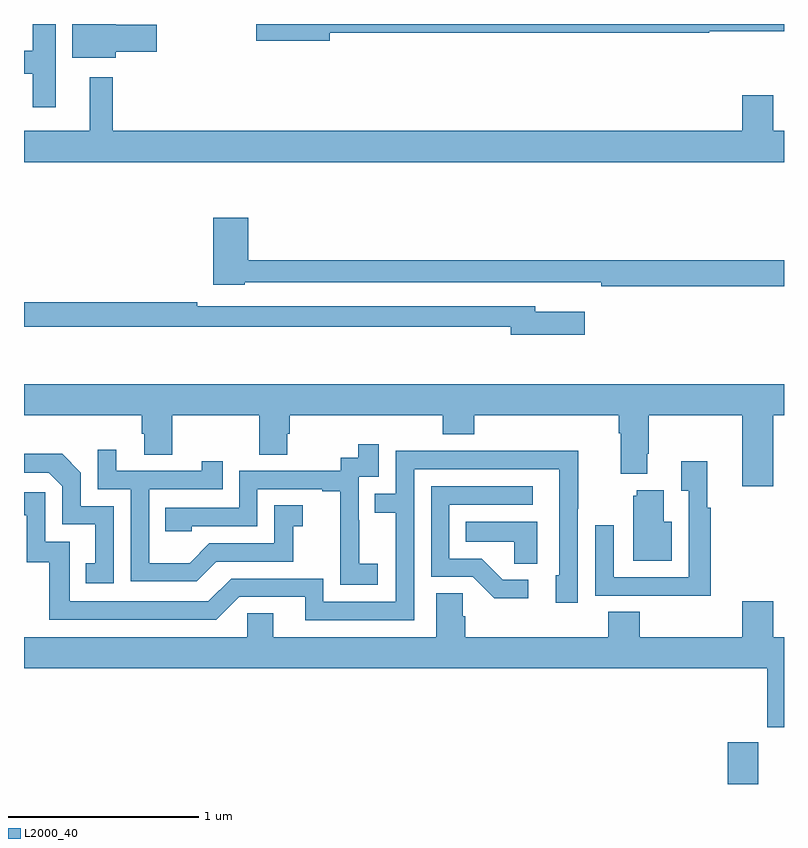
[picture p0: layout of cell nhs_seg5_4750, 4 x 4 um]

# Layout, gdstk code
import gdstk
lib = gdstk.Library(unit=1e-6, precision=1e-09)
def R(c, l, rs):  # rectangles x0, y0, x1, y1
    for r in rs: c.add(gdstk.rectangle(r[:2], r[2:], *l))
def P(c, l, *ps):  # polygons
    for p in ps: c.add(gdstk.Polygon(p, *l))
L2000_40 = (2000, 40)

nhs_seg5_4750 = lib.new_cell('nhs_seg5_4750')
R(nhs_seg5_4750, L2000_40, [(392.705,874.799,392.865,875.02)])
P(nhs_seg5_4750, L2000_40, [(390.61,878.752),(392.606,878.752),(392.606,878.76),(393,878.76),(393,878.799),(390.222,878.799),(390.222,878.71),(390.61,878.71)],
  [(389.167,878.799),(389.046,878.799),(389.046,878.659),(389,878.659),(389,878.538),(389.046,878.538),(389.046,878.361),(389.167,878.361)],
  [(389.482,878.653),(389.698,878.653),(389.698,878.795),(389.482,878.795),(389.482,878.799),(389.255,878.799),(389.255,878.621),(389.482,878.621)],
  [(393,878.236),(392.944,878.236),(392.944,878.425),(392.78,878.425),(392.78,878.236),(389.467,878.236),(389.467,878.518),(389.345,878.518),(389.345,878.236),(389,878.236),(389,878.072),(393,878.072)],
  [(393,877.556),(390.179,877.556),(390.179,877.78),(389.996,877.78),(389.996,877.427),(390.162,877.427),(390.162,877.44),(391.786,877.44),(391.786,877.439),(392.038,877.439),(392.038,877.42),(393,877.42)],
  [(391.951,877.285),(391.69,877.285),(391.69,877.314),(389.912,877.314),(389.912,877.334),(389,877.334),(389,877.206),(391.562,877.206),(391.562,877.163),(391.951,877.163)],
  [(392.944,876.74),(393,876.74),(393,876.904),(389,876.904),(389,876.74),(389.621,876.74),(389.621,876.642),(389.633,876.642),(389.633,876.532),(389.781,876.532),(389.781,876.74),(390.238,876.74),(390.238,876.532),(390.385,876.532),(390.385,876.642),(390.398,876.642),(390.398,876.74),(391.205,876.74),(391.205,876.641),(391.37,876.641),(391.37,876.74),(392.129,876.74),(392.129,876.644),(392.141,876.644),(392.141,876.431),(392.281,876.431),(392.281,876.538),(392.289,876.538),(392.289,876.74),(392.78,876.74),(392.78,876.366),(392.944,876.366)],
  [(390.862,875.959),(390.764,875.959),(390.764,876.188),(390.762,876.188),(390.762,876.417),(390.867,876.417),(390.867,876.586),(390.759,876.586),(390.759,876.516),(390.666,876.516),(390.666,876.447),(390.132,876.447),(390.132,876.252),(389.743,876.252),(389.743,876.129),(389.883,876.129),(389.883,876.156),(390.228,876.156),(390.228,876.351),(390.569,876.351),(390.569,876.339),(390.665,876.339),(390.665,876.055),(390.664,876.055),(390.664,875.849),(390.862,875.849)],
  [(390.013,875.97),(390.417,875.97),(390.417,876.155),(390.466,876.155),(390.466,876.265),(390.318,876.265),(390.318,876.066),(389.976,876.066),(389.872,875.962),(389.658,875.962),(389.658,876.351),(390.047,876.351),(390.047,876.499),(389.936,876.499),(389.936,876.447),(389.485,876.447),(389.485,876.559),(389.388,876.559),(389.388,876.351),(389.562,876.351),(389.562,875.865),(389.908,875.865)],
  [(391.053,876.456),(391.818,876.456),(391.818,875.898),(391.799,875.898),(391.799,875.754),(391.914,875.754),(391.914,876.247),(391.917,876.247),(391.917,876.554),(391.453,876.554),(391.453,876.552),(390.957,876.552),(390.957,876.327),(390.847,876.327),(390.847,876.226),(390.957,876.226),(390.957,875.757),(390.576,875.757),(390.576,875.88),(390.09,875.88),(389.97,875.76),(389.241,875.76),(389.241,876.075),(389.112,876.075),(389.112,876.334),(389,876.334),(389,876.213),(389.015,876.213),(389.015,875.967),(389.133,875.967),(389.133,875.664),(390.012,875.664),(390.132,875.784),(390.479,875.784),(390.479,875.661),(391.053,875.661)],
  [(389.472,876.261),(389.298,876.261),(389.298,876.438),(389.2,876.536),(389,876.536),(389,876.438),(389.13,876.438),(389.202,876.366),(389.202,876.165),(389.375,876.165),(389.375,875.961),(389.326,875.961),(389.326,875.856),(389.472,875.856)],
  [(392.615,876.254),(392.597,876.254),(392.597,876.499),(392.459,876.499),(392.459,876.343),(392.499,876.343),(392.499,875.886),(392.103,875.886),(392.103,876.16),(392.007,876.16),(392.007,875.79),(392.323,875.79),(392.323,875.789),(392.615,875.789)],
  [(391.654,875.874),(391.519,875.874),(391.408,875.985),(391.239,875.985),(391.239,876.27),(391.678,876.27),(391.678,876.366),(391.143,876.366),(391.143,875.889),(391.362,875.889),(391.475,875.777),(391.654,875.777)],
  [(392.41,876.178),(392.368,876.178),(392.368,876.346),(392.225,876.346),(392.225,876.315),(392.207,876.315),(392.207,875.975),(392.41,875.975)],
  [(391.702,876.178),(391.324,876.178),(391.324,876.074),(391.581,876.074),(391.581,875.959),(391.702,875.959)],
  [(393,875.572),(392.944,875.572),(392.944,875.761),(392.78,875.761),(392.78,875.572),(392.24,875.572),(392.24,875.705),(392.075,875.705),(392.075,875.572),(391.322,875.572),(391.322,875.681),(391.308,875.681),(391.308,875.804),(391.169,875.804),(391.169,875.572),(390.313,875.572),(390.313,875.699),(390.174,875.699),(390.174,875.572),(389,875.572),(389,875.408),(392.912,875.408),(392.912,875.099),(393,875.099)])

lib.write_gds('nhs_seg5_4750.gds')
